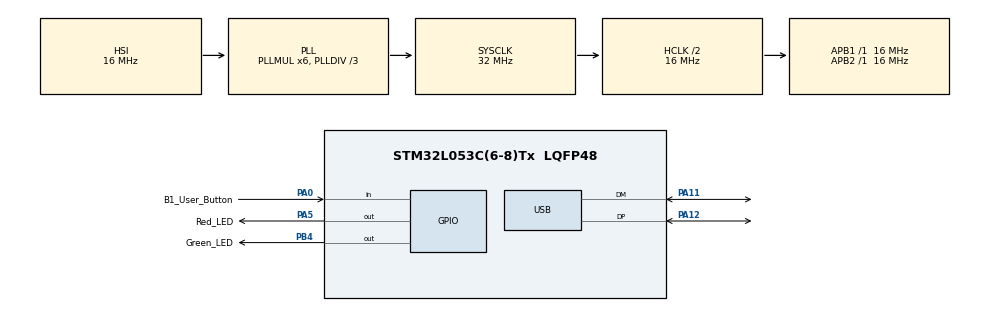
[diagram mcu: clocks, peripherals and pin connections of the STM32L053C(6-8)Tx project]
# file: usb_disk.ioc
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Mcu.Family=STM32L0
Mcu.Name=STM32L053C(6-8)Tx
Mcu.Package=LQFP48
NVIC.USB_IRQn=true\:0\:0\:false\:false\:true\:true\:true\:true
PA0.GPIO_Label=B1_User_Button
PA0.Signal=GPIO_Input
PA11.Mode=Device
PA11.Signal=USB_DM
PA12.Mode=Device
PA12.Signal=USB_DP
PA5.GPIO_Label=Red_LED
PA5.Signal=GPIO_Output
PB4.GPIO_Label=Green_LED
PB4.Signal=GPIO_Output
ProjectManager.HeapSize=0x200
ProjectManager.StackSize=0x400
ProjectManager.TargetToolchain=STM32CubeIDE
RCC.AHBCLKDivider=RCC_SYSCLK_DIV2
RCC.AHBFreq_Value=16000000
RCC.APB1Freq_Value=16000000
RCC.APB1TimFreq_Value=16000000
RCC.APB2Freq_Value=16000000
RCC.APB2TimFreq_Value=16000000
RCC.HCLKFreq_Value=16000000
RCC.HSE_VALUE=8000000
RCC.HSI16_VALUE=16000000
RCC.HSI48MClockSelection=RCC_USBCLKSOURCE_HSI48
RCC.HSI48_VALUE=48000000
RCC.HSI_VALUE=16000000
RCC.LSE_VALUE=32768
RCC.MSI_VALUE=2097000
RCC.PLLDIV=RCC_PLLDIV_3
RCC.PLLMUL=RCC_PLLMUL_6
RCC.SYSCLKFreq_VALUE=32000000
RCC.SYSCLKSource=RCC_SYSCLKSOURCE_PLLCLK
RCC.VCOOutputFreq_Value=96000000
USB_DEVICE.CLASS_NAME_FS=MSC
USB_DEVICE.VirtualMode=Msc
USB_DEVICE.VirtualModeFS=Msc_FS
VP_FATFS_VS_Generic.Mode=User_defined
VP_USB_DEVICE_VS_USB_DEVICE_MSC_FS.Mode=MSC_FS
board=usb_disk

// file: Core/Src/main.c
/* USER CODE BEGIN Header */
/**
 ******************************************************************************
 * @file           : main.c
 * @brief          : Main program body
 ******************************************************************************
 * @attention
 *
 * Copyright (c) 2025 STMicroelectronics.
 * All rights reserved.
 *
 * This software is licensed under terms that can be found in the LICENSE file
 * in the root directory of this software component.
 * If no LICENSE file comes with this software, it is provided AS-IS.
 *
 ******************************************************************************
 */
/* USER CODE END Header */
#include "main.h"
#include "fatfs.h"
#include "usb_device.h"

/* USER CODE BEGIN Includes */
#include <stdint.h>
#include <stdbool.h>
#include "util.h"
/* USER CODE END Includes */

/* USER CODE BEGIN PV */

__attribute__((used, section(".app_vector_table")))    __IO uint32_t vector_table[48];

void (*func_jump_app)(void);
uint32_t u32_mtmp = 0;
uint32_t u32_flash_status = 0;

/* USER CODE END PV */

void SystemClock_Config(void);
static void MX_GPIO_Init(void);

/* USER CODE BEGIN 0 */
uint32_t u32 = 0;
/* USER CODE END 0 */

int main(void)
{

  /* MCU Configuration--------------------------------------------------------*/

  /* Reset of all peripherals, Initializes the Flash interface and the Systick. */
  HAL_Init ();

  /* Configure the system clock */
  SystemClock_Config ();

  /* Initialize all configured peripherals */
  MX_GPIO_Init ();
  //MX_FATFS_Init ();
  //MX_USB_DEVICE_Init ();
  /* USER CODE BEGIN 2 */

  if (HAL_GPIO_ReadPin (B1_User_Button_GPIO_Port, B1_User_Button_Pin) == GPIO_PIN_SET)
  {
    u32 = true;
  }
  if ((uint32_t) (*(__IO uint32_t*) 0x800FFFC) != 0xAA5500FF)
  {
    u32 = true;
  }

#define FLASH_APPLICATION_ADDRESS 0x8006000
  if (u32 == true)
  {
    //RCC->AHBENR |= RCC_AHBENR_MIFEN;
    //USB_RESET_PASSIVE;
    HAL_Delay (15);
    MX_FATFS_Init ();
    MX_USB_DEVICE_Init ();

    /* Clear FLASH flags */
    FLASH->SR = FLASH_SR_BSY | FLASH_SR_EOP | FLASH_SR_WRPERR | FLASH_SR_PGAERR |
    FLASH_SR_SIZERR | FLASH_SR_OPTVERR | FLASH_SR_RDERR |
    FLASH_SR_NOTZEROERR | FLASH_SR_FWWERR;

  }
  else if ((uint32_t) (*(__IO uint32_t*) 0x800FFFC) == 0xAA5500FF)
  {
    if (*(__IO uint32_t*) FLASH_APPLICATION_ADDRESS != (uint32_t) 0x00)
    {
      for (u32 = 0; u32 < 48; u32++)
      {
	vector_table[u32] = *(__IO uint32_t*) (FLASH_APPLICATION_ADDRESS + (u32 << 2));
      }

      /* SYSCFG clock enabled */
      RCC->APB2ENR |= RCC_APB2ENR_SYSCFGEN;
      /* Embedded SRAM is mapped to boot */
      SYSCFG->CFGR1 |= SYSCFG_CFGR1_MEM_MODE;

      func_jump_app = (void (*)(void)) (*((__IO uint32_t*) (FLASH_APPLICATION_ADDRESS + 4)));
      __set_MSP (*(__IO uint32_t*) FLASH_APPLICATION_ADDRESS);
      func_jump_app ();
    }
  }

  /* USER CODE END 2 */

  /* Infinite loop */
  /* USER CODE BEGIN WHILE */
  //HAL_GPIO_TogglePin(Red_LED_GPIO_Port, Red_LED_Pin);
  while (1)
  {
    /* USER CODE END WHILE */

    /* USER CODE BEGIN 3 */
    HAL_Delay (400 + u32_mtmp);
    HAL_GPIO_TogglePin (Red_LED_GPIO_Port, Red_LED_Pin);
    HAL_Delay (200 + u32_mtmp);
    HAL_GPIO_TogglePin (Green_LED_GPIO_Port, Green_LED_Pin);
    HAL_Delay (200 + u32_mtmp);
    HAL_GPIO_TogglePin (Red_LED_GPIO_Port, Red_LED_Pin);
    HAL_Delay (200 + u32_mtmp);
    HAL_GPIO_TogglePin (Green_LED_GPIO_Port, Green_LED_Pin);
    HAL_Delay (400 + u32_mtmp);
    HAL_GPIO_TogglePin (Green_LED_GPIO_Port, Green_LED_Pin);
    HAL_Delay (200 + u32_mtmp);
    HAL_GPIO_TogglePin (Red_LED_GPIO_Port, Red_LED_Pin);
    HAL_Delay (200 + u32_mtmp);
    HAL_GPIO_TogglePin (Green_LED_GPIO_Port, Green_LED_Pin);
    HAL_Delay (200 + u32_mtmp);
    HAL_GPIO_TogglePin (Red_LED_GPIO_Port, Red_LED_Pin);
    if (u32_flash_status == 0xFF00)
    {
      //completed programming
      HAL_Delay (500);
      /*
       if (flash_ob_get_rdp_level () == FLASH_READ_PROTECTION_LEVEL_0)
       {
       unlock_option_byte ();
       write_option_byte (0x00, 0xFF0000FF); //level 1
       lock_option_byte ();
       }
       */
      NVIC_SystemReset ();
    }
  }
  /* USER CODE END 3 */
}

void SystemClock_Config(void)
{
  RCC_OscInitTypeDef RCC_OscInitStruct = { 0 };
  RCC_ClkInitTypeDef RCC_ClkInitStruct = { 0 };
  RCC_PeriphCLKInitTypeDef PeriphClkInit = { 0 };

  /** Configure the main internal regulator output voltage
   */
  __HAL_PWR_VOLTAGESCALING_CONFIG(PWR_REGULATOR_VOLTAGE_SCALE1);

  /** Initializes the RCC Oscillators according to the specified parameters
   * in the RCC_OscInitTypeDef structure.
   */
  RCC_OscInitStruct.OscillatorType = RCC_OSCILLATORTYPE_HSI | RCC_OSCILLATORTYPE_HSI48;
  RCC_OscInitStruct.HSIState = RCC_HSI_ON;
  RCC_OscInitStruct.HSICalibrationValue = RCC_HSICALIBRATION_DEFAULT;
  RCC_OscInitStruct.HSI48State = RCC_HSI48_ON;
  RCC_OscInitStruct.PLL.PLLState = RCC_PLL_ON;
  RCC_OscInitStruct.PLL.PLLSource = RCC_PLLSOURCE_HSI;
  RCC_OscInitStruct.PLL.PLLMUL = RCC_PLLMUL_6;
  RCC_OscInitStruct.PLL.PLLDIV = RCC_PLLDIV_3;
  if (HAL_RCC_OscConfig (&RCC_OscInitStruct) != HAL_OK)
  {
    Error_Handler ();
  }

  /** Initializes the CPU, AHB and APB buses clocks
   */
  RCC_ClkInitStruct.ClockType = RCC_CLOCKTYPE_HCLK | RCC_CLOCKTYPE_SYSCLK | RCC_CLOCKTYPE_PCLK1
      | RCC_CLOCKTYPE_PCLK2;
  RCC_ClkInitStruct.SYSCLKSource = RCC_SYSCLKSOURCE_PLLCLK;
  RCC_ClkInitStruct.AHBCLKDivider = RCC_SYSCLK_DIV2;
  RCC_ClkInitStruct.APB1CLKDivider = RCC_HCLK_DIV1;
  RCC_ClkInitStruct.APB2CLKDivider = RCC_HCLK_DIV1;

  if (HAL_RCC_ClockConfig (&RCC_ClkInitStruct, FLASH_LATENCY_0) != HAL_OK)
  {
    Error_Handler ();
  }
  PeriphClkInit.PeriphClockSelection = RCC_PERIPHCLK_USB;
  PeriphClkInit.UsbClockSelection = RCC_USBCLKSOURCE_HSI48;
  if (HAL_RCCEx_PeriphCLKConfig (&PeriphClkInit) != HAL_OK)
  {
    Error_Handler ();
  }
}

static void MX_GPIO_Init(void)
{
  GPIO_InitTypeDef GPIO_InitStruct = { 0 };

  /* GPIO Ports Clock Enable */
  __HAL_RCC_GPIOA_CLK_ENABLE();
  __HAL_RCC_GPIOB_CLK_ENABLE();

  /*Configure GPIO pin Output Level */
  HAL_GPIO_WritePin (Red_LED_GPIO_Port, Red_LED_Pin, GPIO_PIN_RESET);

  /*Configure GPIO pin Output Level */
  HAL_GPIO_WritePin (Green_LED_GPIO_Port, Green_LED_Pin, GPIO_PIN_RESET);

  /*Configure GPIO pin : B1_User_Button_Pin */
  GPIO_InitStruct.Pin = B1_User_Button_Pin;
  GPIO_InitStruct.Mode = GPIO_MODE_INPUT;
  GPIO_InitStruct.Pull = GPIO_NOPULL;
  HAL_GPIO_Init (B1_User_Button_GPIO_Port, &GPIO_InitStruct);

  /*Configure GPIO pin : Red_LED_Pin */
  GPIO_InitStruct.Pin = Red_LED_Pin;
  GPIO_InitStruct.Mode = GPIO_MODE_OUTPUT_PP;
  GPIO_InitStruct.Pull = GPIO_NOPULL;
  GPIO_InitStruct.Speed = GPIO_SPEED_FREQ_LOW;
  HAL_GPIO_Init (Red_LED_GPIO_Port, &GPIO_InitStruct);

  /*Configure GPIO pin : Green_LED_Pin */
  GPIO_InitStruct.Pin = Green_LED_Pin;
  GPIO_InitStruct.Mode = GPIO_MODE_OUTPUT_PP;
  GPIO_InitStruct.Pull = GPIO_NOPULL;
  GPIO_InitStruct.Speed = GPIO_SPEED_FREQ_LOW;
  HAL_GPIO_Init (Green_LED_GPIO_Port, &GPIO_InitStruct);

}

void Error_Handler(void)
{
  /* USER CODE BEGIN Error_Handler_Debug */
  /* User can add his own implementation to report the HAL error return state */
  __disable_irq ();
  while (1)
  {
  }
  /* USER CODE END Error_Handler_Debug */
}
